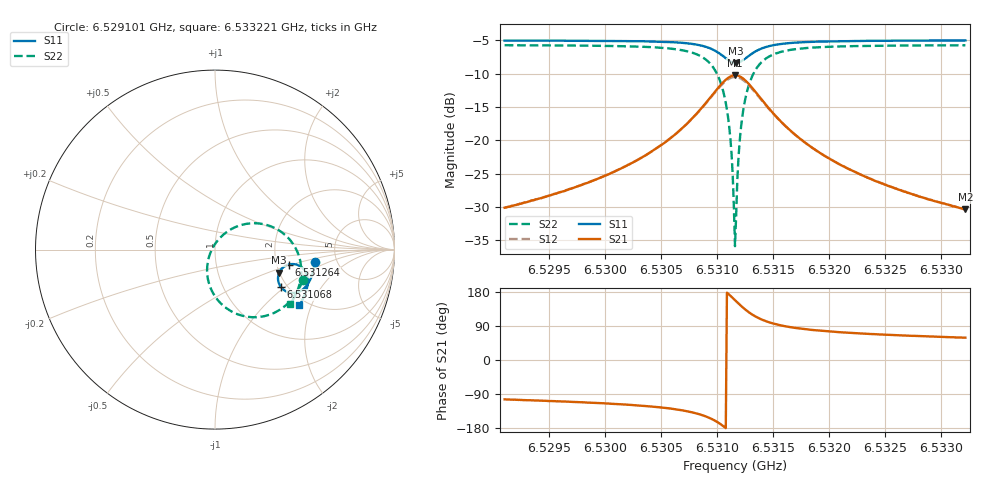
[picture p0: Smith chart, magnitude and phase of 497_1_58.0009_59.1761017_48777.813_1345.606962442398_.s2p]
#  HZ  S  RI  R  50.00
! Rohde & Schwarz Vector Network Analyzer
! Rohde-Schwarz,ZNB20-2Port,1311601062101988,3.16
! Created: UTC 3/21/2024, 1:12:37 AM
! freq[Hz]  re:S11  im:S11  re:S21  im:S21  re:S12  im:S12  re:S22  im:S22
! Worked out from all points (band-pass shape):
!   401 points, 6.529101 GHz to 6.533221 GHz, reference 50 ohm
!   highest |S21| = -10.23 dB at 6.531161 GHz (marker M1); lowest = -30.4 dB at 6.533221 GHz (marker M2)
!   |S21| within 3 dB of the highest: 6.530957 GHz to 6.531368 GHz (411.7 kHz wide, 0.0063 % of centre)
!   lowest |S11| = -8.4 dB at 6.531171 GHz (marker M3), VSWR 2.23, Z = 99.6 - j30 ohm
!   |S11| at or under -10 dB: nowhere
!   |S22| runs from -35.9 to -5.7 dB; largest |S21 - S12| = 0.012
!   S11 on the Smith chart (normalised r, x): 6.529101 GHz: 3.41, -0.67; 6.531068 GHz: 1.85, -0.93; 6.531264 GHz: 2.33, -0.47; 6.533221 GHz: 1.82, -1.64
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6.5291013e9  0.5568 -0.0671  -0.00749 -0.0303  -0.00806 -0.0302  0.489 -0.1707
6.5297913e9  0.5458 -0.1243  -0.017 -0.0431  -0.018 -0.0428  0.4579 -0.2349
6.5304813e9  0.5167 -0.1925  -0.051 -0.0738  -0.0531 -0.0724  0.3761 -0.3253
6.5307182e9  0.4893 -0.222  -0.091 -0.0928  -0.0938 -0.0899  0.2952 -0.3653
6.5308932e9  0.4454 -0.2407  -0.1593 -0.0991  -0.1615 -0.0926  0.1689 -0.3721
6.5309962e9  0.4006 -0.2348  -0.2287 -0.0721  -0.2279 -0.0627  0.0507 -0.3166
6.5310683e9  0.366 -0.2069  -0.2799 -0.0133  -0.2741 -0.00336  -0.0266 -0.2089
6.5311095e9  0.3532 -0.1788  -0.2955 0.04  -0.2867 0.0478  -0.0442 -0.1181
6.5311198e9  0.3518 -0.1707  -0.2965 0.055  -0.2869 0.0619  -0.0433 -0.0934
6.5311507e9  0.3526 -0.1453  -0.2905 0.1008  -0.2798 0.1051  -0.026 -0.0189
6.531161e9  0.3547 -0.1368  -0.2854 0.1157  -0.2746 0.119  -0.0153 0.00471
6.5311713e9  0.3576 -0.1288  -0.2791 0.13  -0.2681 0.1323  -0.00243 0.0273
6.5311816e9  0.3615 -0.121  -0.2712 0.1435  -0.2603 0.1449  0.0127 0.0482
6.5312022e9  0.3714 -0.1072  -0.2519 0.1676  -0.2417 0.1672  0.0481 0.0847
6.5312125e9  0.3772 -0.1013  -0.2409 0.1778  -0.2312 0.1767  0.0676 0.0997
6.5312331e9  0.3901 -0.0918  -0.2171 0.1945  -0.2086 0.1922  0.1093 0.1236
6.531264e9  0.4108 -0.0832  -0.18 0.2098  -0.1733 0.2066  0.1735 0.1432
6.5313361e9  0.4541 -0.0836  -0.104 0.2115  -0.1007 0.2083  0.3012 0.1333
6.5314391e9  0.4914 -0.1064  -0.0391 0.1798  -0.0374 0.1781  0.4074 0.0657
6.531851e9  0.5169 -0.1868  0.0164 0.0865  0.0173 0.0862  0.4805 -0.1279
6.532541e9  0.4974 -0.2575  0.0181 0.0415  0.0188 0.0411  0.4523 -0.2449
6.5332207e9  0.4707 -0.3083  0.0157 0.026  0.0162 0.0257  0.4177 -0.3056
